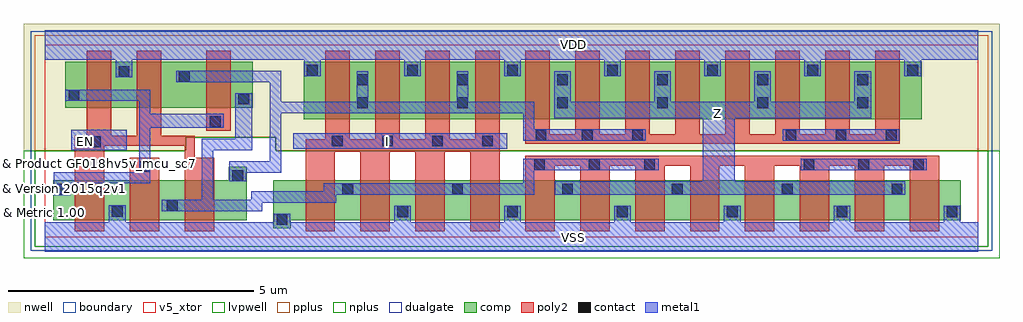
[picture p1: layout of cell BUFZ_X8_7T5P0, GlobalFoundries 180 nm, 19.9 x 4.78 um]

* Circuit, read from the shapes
.subckt BUFZ_X8_7T5P0 EN I VDD VSS Z
XM1 VSS EN n1 VSUBS nfet_05v0 w=0.82u l=0.6u
XM2 n2 n1 VSS VSUBS nfet_05v0 w=0.82u l=0.6u
XM3 n3 EN n2 VSUBS nfet_05v0 w=0.82u l=0.6u
XM4 n2 I VSS VSUBS nfet_05v0 w=0.82u l=0.6u m=4
XM5 Z n2 VSS VSUBS nfet_05v0 w=0.82u l=0.6u m=8
XM6 VDD EN n1 n4 pfet_05v0 w=0.945u l=0.5u
XM7 n3 EN VDD n4 pfet_05v0 w=0.945u l=0.5u
XM8 n2 n1 n3 n4 pfet_05v0 w=0.945u l=0.5u
XM9 n3 I VDD n4 pfet_05v0 w=1.175u l=0.5u m=4
XM10 Z n3 VDD n4 pfet_05v0 w=1.175u l=0.5u m=8
.ends

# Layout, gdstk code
import gdstk
lib = gdstk.Library(unit=1e-6, precision=1e-09)
def R(c, l, rs):  # rectangles x0, y0, x1, y1
    for r in rs: c.add(gdstk.rectangle(r[:2], r[2:], *l))
def A(c, l, x, y, w, h, nx, ny, dx, dy):  # array of equal rectangles
    R(c, l, [(x+i*dx, y+j*dy, x+i*dx+w, y+j*dy+h) for i in range(nx) for j in range(ny)])
def P(c, l, *ps):  # polygons
    for p in ps: c.add(gdstk.Polygon(p, *l))
boundary = (0, 0)
nwell = (21, 0)
comp = (22, 0)
poly2 = (30, 0)
pplus = (31, 0)
nplus = (32, 0)
contact = (33, 0)
metal1 = (34, 0)
dualgate = (55, 0)
v5_xtor = (112, 1)
lvpwell = (204, 0)

bufz_x8_7t5p0 = lib.new_cell('BUFZ_X8_7T5P0')
R(bufz_x8_7t5p0, boundary, [(0,0,19.04,3.92)])
P(bufz_x8_7t5p0, nwell, [(-0.43,1.76),(2.875,1.76),(2.875,2.035),(4.715,2.035),(4.715,1.76),(19.47,1.76),(19.47,4.35),(-0.43,4.35)])
R(bufz_x8_7t5p0, comp, [(5.28,2.405,17.88,3.58), (0.42,2.635,4.24,3.58)])
P(bufz_x8_7t5p0, comp, [(0.18,0.34),(4.12,0.34),(4.12,1.435),(3.76,1.435),(3.76,1.16),(0.18,1.16)],
  [(4.66,0.18),(5.02,0.18),(5.02,0.34),(18.68,0.34),(18.68,1.16),(4.66,1.16)])
R(bufz_x8_7t5p0, poly2, [(1.74,0.12,2.34,1.62), (3.3,2.17,3.8,3.8)])
P(bufz_x8_7t5p0, poly2, [(0.62,0.12),(1.22,0.12),(1.22,1.865),(2.86,1.865),(2.86,0.12),(3.46,0.12),(3.46,1.62),(3.06,1.62),(3.06,2.065),(2.38,2.065),(2.38,3.8),(1.88,3.8),(1.88,2.065),(1.36,2.065),(1.36,3.8),(0.86,3.8),(0.86,2.065),(0.62,2.065)],
  [(5.32,0.12),(5.92,0.12),(5.92,1.745),(6.44,1.745),(6.44,0.12),(7.04,0.12),(7.04,1.745),(7.56,1.745),(7.56,0.12),(8.16,0.12),(8.16,1.745),(8.68,1.745),(8.68,0.12),(9.28,0.12),(9.28,3.8),(8.78,3.8),(8.78,1.995),(8.26,1.995),(8.26,3.8),(7.76,3.8),(7.76,1.995),(7.24,1.995),(7.24,3.8),(6.74,3.8),(6.74,1.995),(6.22,1.995),(6.22,3.8),(5.72,3.8),(5.72,1.995),(5.32,1.995)],
  [(9.8,1.9),(17.44,1.9),(17.44,3.8),(16.94,3.8),(16.94,2.1),(16.42,2.1),(16.42,3.8),(15.92,3.8),(15.92,2.1),(15.4,2.1),(15.4,3.8),(14.9,3.8),(14.9,2.1),(14.38,2.1),(14.38,3.8),(13.88,3.8),(13.88,2.1),(13.36,2.1),(13.36,3.8),(12.86,3.8),(12.86,2.1),(12.34,2.1),(12.34,3.8),(11.84,3.8),(11.84,2.1),(11.32,2.1),(11.32,3.8),(10.82,3.8),(10.82,2.1),(10.3,2.1),(10.3,3.8),(9.8,3.8)],
  [(9.8,0.12),(10.4,0.12),(10.4,1.46),(10.92,1.46),(10.92,0.12),(11.52,0.12),(11.52,1.46),(12.04,1.46),(12.04,0.12),(12.64,0.12),(12.64,1.46),(13.16,1.46),(13.16,0.12),(13.76,0.12),(13.76,1.46),(14.28,1.46),(14.28,0.12),(14.88,0.12),(14.88,1.46),(15.4,1.46),(15.4,0.12),(16,0.12),(16,1.46),(16.52,1.46),(16.52,0.12),(17.12,0.12),(17.12,1.46),(17.64,1.46),(17.64,0.12),(18.24,0.12),(18.24,1.66),(9.8,1.66)])
P(bufz_x8_7t5p0, pplus, [(-0.2,1.76),(2.875,1.76),(2.875,2.035),(4.715,2.035),(4.715,1.76),(19.24,1.76),(19.24,4.12),(-0.2,4.12)])
P(bufz_x8_7t5p0, nplus, [(-0.2,-0.2),(19.24,-0.2),(19.24,1.76),(4.715,1.76),(4.715,2.035),(2.875,2.035),(2.875,1.76),(-0.2,1.76)])
A(bufz_x8_7t5p0, contact, 7.19, 0.41, 0.22, 0.22, 6, 1, 2.24, 0)
A(bufz_x8_7t5p0, contact, 6.07, 0.87, 0.22, 0.22, 6, 1, 2.24, 0)
A(bufz_x8_7t5p0, contact, 5.86, 1.85, 0.22, 0.22, 4, 1, 1.02, 0)
A(bufz_x8_7t5p0, contact, 15.11, 1.97, 0.22, 0.22, 3, 1, 1.02, 0)
A(bufz_x8_7t5p0, contact, 6.37, 2.63, 0.22, 0.22, 6, 2, 2.04, 0.47)
A(bufz_x8_7t5p0, contact, 5.35, 3.29, 0.22, 0.22, 7, 1, 2.04, 0)
R(bufz_x8_7t5p0, contact, [(4.73,0.25,4.95,0.47), (1.37,0.415,1.59,0.635), (2.49,0.535,2.71,0.755), (0.25,0.87,0.47,1.09), (3.83,1.145,4.05,1.365), (1.93,1.33,2.15,1.55), (9.98,1.37,10.2,1.59), (11.1,1.37,11.32,1.59), (12.225,1.37,12.445,1.59), (15.475,1.37,15.695,1.59), (16.595,1.37,16.815,1.59), (17.71,1.37,17.93,1.59), (0.93,1.835,1.15,2.055), (10.01,1.97,10.23,2.19), (10.955,1.97,11.175,2.19), (11.98,1.97,12.2,2.19), (3.37,2.24,3.59,2.46), (3.95,2.705,4.17,2.925), (0.49,2.785,0.71,3.005), (2.74,3.165,2.96,3.385), (1.51,3.265,1.73,3.485)])
R(bufz_x8_7t5p0, metal1, [(15.415,1.365,17.99,1.595), (0.545,1.775,1.675,2.185), (5.075,1.8,9.43,2.12), (15.05,1.965,17.43,2.195)])
P(bufz_x8_7t5p0, metal1, [(0.42,2.78),(1.925,2.78),(1.925,1.325),(0.19,1.325),(0.19,0.85),(0.53,0.85),(0.53,1.095),(2.155,1.095),(2.155,2.235),(3.65,2.235),(3.65,2.52),(2.155,2.52),(2.155,3.01),(0.42,3.01)],
  [(2.68,3.16),(4.595,3.16),(4.595,1.545),(3.77,1.545),(3.77,1.14),(4.11,1.14),(4.11,1.315),(4.825,1.315),(4.825,2.53),(9.755,2.53),(9.755,1.965),(12.26,1.965),(12.26,2.195),(9.985,2.195),(9.985,2.76),(8.635,2.76),(8.635,3.38),(8.405,3.38),(8.405,2.76),(6.595,2.76),(6.595,3.38),(6.365,3.38),(6.365,2.76),(4.825,2.76),(4.825,3.39),(2.68,3.39)],
  [(2.39,0.53),(4.44,0.53),(4.44,0.705),(5.945,0.705),(5.945,0.865),(9.985,0.865),(9.985,1.365),(12.52,1.365),(12.52,1.595),(9.755,1.595),(9.755,1.095),(5.695,1.095),(5.695,0.935),(4.215,0.935),(4.215,0.76),(3.435,0.76),(3.435,1.775),(4.23,1.775),(4.23,2.93),(3.89,2.93),(3.89,2.005),(3.205,2.005),(3.205,0.76),(2.39,0.76)],
  [(10.39,2.425),(13.42,2.425),(13.42,1.135),(10.4,1.135),(10.4,0.865),(17.55,0.865),(17.55,1.135),(14.07,1.135),(14.07,2.425),(16.85,2.425),(16.85,3.38),(16.51,3.38),(16.51,2.765),(14.81,2.765),(14.81,3.38),(14.47,3.38),(14.47,2.765),(12.77,2.765),(12.77,3.38),(12.43,3.38),(12.43,2.765),(10.73,2.765),(10.73,3.38),(10.39,3.38)],
  [(0,-0.3),(19.04,-0.3),(19.04,0.3),(18.67,0.3),(18.67,0.635),(18.33,0.635),(18.33,0.3),(16.43,0.3),(16.43,0.635),(16.09,0.635),(16.09,0.3),(14.19,0.3),(14.19,0.635),(13.85,0.635),(13.85,0.3),(11.95,0.3),(11.95,0.635),(11.61,0.635),(11.61,0.3),(9.71,0.3),(9.71,0.635),(9.37,0.635),(9.37,0.3),(7.47,0.3),(7.47,0.635),(7.13,0.635),(7.13,0.3),(5.01,0.3),(5.01,0.475),(4.67,0.475),(4.67,0.3),(1.65,0.3),(1.65,0.655),(1.31,0.655),(1.31,0.3),(0,0.3)],
  [(0,3.62),(1.45,3.62),(1.45,3.26),(1.79,3.26),(1.79,3.62),(5.29,3.62),(5.29,3.285),(5.63,3.285),(5.63,3.62),(7.33,3.62),(7.33,3.285),(7.67,3.285),(7.67,3.62),(9.37,3.62),(9.37,3.285),(9.71,3.285),(9.71,3.62),(11.41,3.62),(11.41,3.285),(11.75,3.285),(11.75,3.62),(13.45,3.62),(13.45,3.285),(13.79,3.285),(13.79,3.62),(15.49,3.62),(15.49,3.285),(15.83,3.285),(15.83,3.62),(17.53,3.62),(17.53,3.285),(17.87,3.285),(17.87,3.62),(19.04,3.62),(19.04,4.22),(0,4.22)])
R(bufz_x8_7t5p0, dualgate, [(-0.28,-0.28,19.32,4.2)])
R(bufz_x8_7t5p0, v5_xtor, [(0,0,19.04,3.92)])
P(bufz_x8_7t5p0, lvpwell, [(-0.43,-0.43),(19.47,-0.43),(19.47,1.76),(4.715,1.76),(4.715,2.035),(2.875,2.035),(2.875,1.76),(-0.43,1.76)])
bufz_x8_7t5p0.add(gdstk.Label('Z', (13.72,2.52), layer=34, texttype=10))
bufz_x8_7t5p0.add(gdstk.Label('EN', (0.84,1.96), layer=34, texttype=10))
bufz_x8_7t5p0.add(gdstk.Label('I', (7,1.96), layer=34, texttype=10))
bufz_x8_7t5p0.add(gdstk.Label('VSS', (10.79,0), layer=34, texttype=10))
bufz_x8_7t5p0.add(gdstk.Label('VDD', (10.79,3.92), layer=34, texttype=10))
bufz_x8_7t5p0.add(gdstk.Label('& Vendor GLOBALFOUNDRIES', (0,2), layer=63, texttype=63))
bufz_x8_7t5p0.add(gdstk.Label('& Product GF018hv5v_mcu_sc7', (0,1.5), layer=63, texttype=63))
bufz_x8_7t5p0.add(gdstk.Label('& Version 2015q2v1', (0,1), layer=63, texttype=63))
bufz_x8_7t5p0.add(gdstk.Label('& Metric 1.00', (0,0.5), layer=63, texttype=63))

lib.write_gds('BUFZ_X8_7T5P0.gds')
